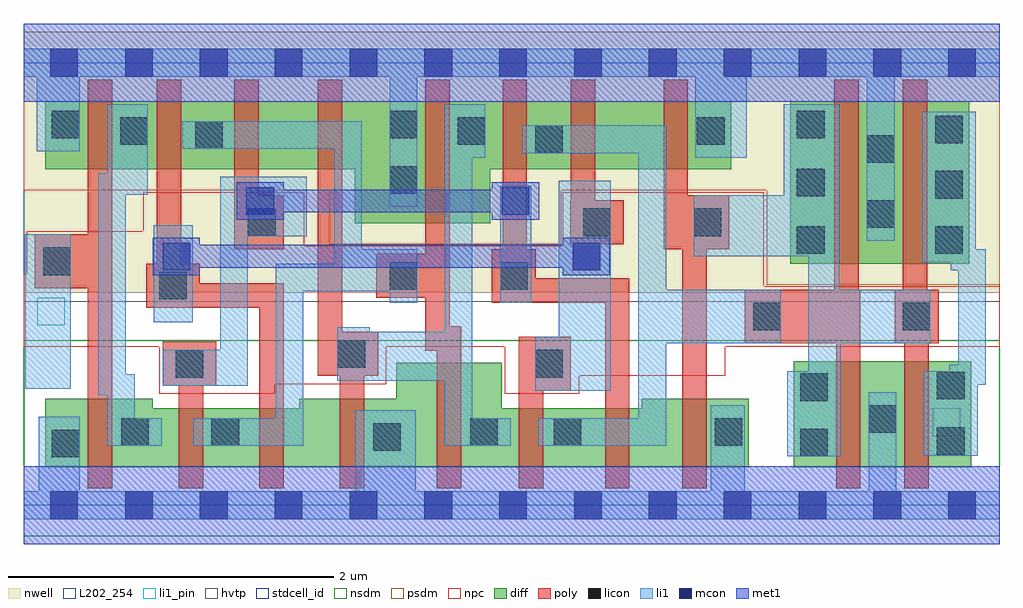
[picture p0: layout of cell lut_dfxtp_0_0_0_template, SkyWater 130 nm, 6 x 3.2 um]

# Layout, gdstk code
import gdstk
lib = gdstk.Library(unit=1e-6, precision=1e-09)
def R(c, l, rs):  # rectangles x0, y0, x1, y1
    for r in rs: c.add(gdstk.rectangle(r[:2], r[2:], *l))
def A(c, l, x, y, w, h, nx, ny, dx, dy):  # array of equal rectangles
    R(c, l, [(x+i*dx, y+j*dy, x+i*dx+w, y+j*dy+h) for i in range(nx) for j in range(ny)])
def P(c, l, *ps):  # polygons
    for p in ps: c.add(gdstk.Polygon(p, *l))
nwell = (64, 20)
diff = (65, 20)
poly = (66, 20)
licon = (66, 44)
li1_pin = (67, 16)
li1 = (67, 20)
mcon = (67, 44)
met1 = (68, 20)
hvtp = (78, 44)
stdcell_id = (81, 4)
nsdm = (93, 44)
psdm = (94, 20)
npc = (95, 20)
L202_254 = (202, 254)

lut_dfxtp_0_0_0_template = lib.new_cell('lut_dfxtp_0_0_0_template')
R(lut_dfxtp_0_0_0_template, nwell, [(0,1.305,6,2.91)])
R(lut_dfxtp_0_0_0_template, diff, [(4.735,0.235,5.825,0.885), (4.715,1.485,5.815,2.485)])
P(lut_dfxtp_0_0_0_template, diff, [(0.135,2.065),(2.035,2.065),(2.035,1.735),(2.87,1.735),(2.87,2.065),(4.35,2.065),(4.35,2.485),(0.135,2.485)],
  [(0.135,0.235),(4.46,0.235),(4.46,0.655),(3.8,0.655),(3.8,0.595),(2.94,0.595),(2.94,0.875),(2.29,0.875),(2.29,0.655),(1.695,0.655),(1.695,0.595),(0.795,0.595),(0.795,0.655),(0.135,0.655)])
P(lut_dfxtp_0_0_0_template, poly, [(1.81,0.795),(1.945,0.795),(1.945,0.105),(2.095,0.105),(2.095,0.795),(2.18,0.795),(2.18,1.065),(1.96,1.065),(1.96,2.615),(1.81,2.615)],
  [(0.855,0.735),(0.955,0.735),(0.955,0.105),(1.105,0.105),(1.105,0.735),(1.185,0.735),(1.185,1.005),(0.855,1.005)],
  [(0.07,1.335),(0.395,1.335),(0.395,0.105),(0.545,0.105),(0.545,2.615),(0.395,2.615),(0.395,1.665),(0.07,1.665)],
  [(0.755,1.215),(1.45,1.215),(1.45,0.105),(1.6,0.105),(1.6,1.365),(1.085,1.365),(1.085,1.485),(0.97,1.485),(0.97,2.615),(0.82,2.615),(0.82,1.485),(0.755,1.485)],
  [(1.295,1.575),(1.6,1.575),(1.6,1.905),(1.445,1.905),(1.445,2.615),(1.295,2.615)],
  [(3.935,1.575),(4.05,1.575),(4.05,0.105),(4.2,0.105),(4.2,1.575),(4.34,1.575),(4.34,1.905),(4.085,1.905),(4.085,2.615),(3.935,2.615)],
  [(3.36,1.605),(3.69,1.605),(3.69,1.875),(3.515,1.875),(3.515,2.615),(3.365,2.615),(3.365,1.875),(3.36,1.875)],
  [(2.88,1.245),(3.575,1.245),(3.575,0.105),(3.725,0.105),(3.725,1.395),(3.15,1.395),(3.15,1.575),(3.095,1.575),(3.095,2.615),(2.945,2.615),(2.945,1.575),(2.88,1.575)],
  [(5.355,0.995),(5.415,0.995),(5.415,0.105),(5.565,0.105),(5.565,0.995),(5.625,0.995),(5.625,1.325),(5.555,1.325),(5.555,2.615),(5.405,2.615),(5.405,1.325),(5.355,1.325)],
  [(4.435,0.995),(4.995,0.995),(4.995,0.105),(5.145,0.105),(5.145,1.325),(5.135,1.325),(5.135,2.615),(4.985,2.615),(4.985,1.325),(4.435,1.325)],
  [(3.045,0.105),(3.195,0.105),(3.195,0.705),(3.365,0.705),(3.365,1.035),(3.045,1.035)],
  [(2.47,0.95),(2.54,0.95),(2.54,0.105),(2.69,0.105),(2.69,1.1),(2.62,1.1),(2.62,2.615),(2.47,2.615),(2.47,1.545),(2.17,1.545),(2.17,1.275),(2.47,1.275)])
A(lut_dfxtp_0_0_0_template, licon, 4.755, 1.545, 0.17, 0.17, 1, 3, 0, 0.355)
A(lut_dfxtp_0_0_0_template, licon, 5.605, 1.545, 0.17, 0.17, 1, 3, 0, 0.34)
R(lut_dfxtp_0_0_0_template, licon, [(0.175,0.295,0.345,0.465), (4.775,0.3,4.945,0.47), (5.615,0.31,5.785,0.48), (2.15,0.335,2.32,0.505), (0.6,0.365,0.77,0.535), (1.155,0.365,1.325,0.535), (2.745,0.365,2.915,0.535), (3.26,0.365,3.43,0.535), (4.25,0.365,4.42,0.535), (5.195,0.445,5.365,0.615), (4.775,0.64,4.945,0.81), (5.615,0.65,5.785,0.82), (0.935,0.785,1.105,0.955), (3.145,0.785,3.315,0.955), (1.93,0.845,2.1,1.015), (4.485,1.075,4.655,1.245), (5.405,1.075,5.575,1.245), (0.835,1.265,1.005,1.435), (2.25,1.325,2.42,1.495), (2.93,1.325,3.1,1.495), (0.12,1.415,0.29,1.585), (1.38,1.655,1.55,1.825), (3.44,1.655,3.61,1.825), (4.12,1.655,4.29,1.825), (5.185,1.705,5.355,1.875), (2.25,1.915,2.42,2.085), (5.185,2.105,5.355,2.275), (3.145,2.165,3.315,2.335), (1.055,2.19,1.225,2.36), (0.595,2.215,0.765,2.385), (2.67,2.215,2.84,2.385), (4.14,2.215,4.31,2.385), (0.175,2.255,0.345,2.425), (2.25,2.255,2.42,2.425)])
R(lut_dfxtp_0_0_0_template, li1_pin, [(5.59,0.425,5.76,0.595), (0.085,1.105,0.255,1.275)])
R(lut_dfxtp_0_0_0_template, li1, [(0.01,0.715,0.29,1.665), (0.8,1.125,1.04,1.72), (2.93,1.245,3.12,1.965)])
P(lut_dfxtp_0_0_0_template, li1, [(3.165,0.365),(3.95,0.365),(3.95,0.995),(4.655,0.995),(4.655,1.325),(3.95,1.325),(3.95,2.335),(3.065,2.335),(3.065,2.165),(3.78,2.165),(3.78,0.535),(3.165,0.535)],
  [(4.695,0.3),(5.025,0.3),(5.025,0.995),(5.575,0.995),(5.575,1.325),(5.015,1.325),(5.015,2.465),(4.675,2.465),(4.675,1.905),(4.12,1.905),(4.12,1.53),(4.825,1.53),(4.825,0.825),(4.695,0.825)],
  [(5.525,1.495),(5.7,1.495),(5.7,1.445),(5.745,1.445),(5.745,0.865),(5.69,0.865),(5.69,0.825),(5.535,0.825),(5.535,0.305),(5.865,0.305),(5.865,0.74),(5.915,0.74),(5.915,1.575),(5.855,1.575),(5.855,2.42),(5.525,2.42)],
  [(3.145,0.705),(3.61,0.705),(3.61,1.995),(3.29,1.995),(3.29,1.035),(3.145,1.035)],
  [(0,2.635),(0.08,2.635),(0.08,2.175),(0.345,2.175),(0.345,2.635),(2.25,2.635),(2.25,1.835),(2.42,1.835),(2.42,2.635),(4.13,2.635),(4.13,2.135),(4.445,2.135),(4.445,2.635),(5.185,2.635),(5.185,1.625),(5.355,1.625),(5.355,2.635),(6,2.635),(6,2.805),(0,2.805)],
  [(0,-0.085),(6,-0.085),(6,0.085),(5.365,0.085),(5.365,0.695),(5.195,0.695),(5.195,0.085),(4.435,0.085),(4.435,0.615),(4.225,0.615),(4.225,0.085),(2.41,0.085),(2.41,0.585),(2.04,0.585),(2.04,0.085),(0.345,0.085),(0.345,0.545),(0.095,0.545),(0.095,0.085),(0,0.085)],
  [(0.515,0.365),(0.85,0.365),(0.85,0.535),(0.685,0.535),(0.685,0.805),(0.63,0.805),(0.63,1.91),(0.765,1.91),(0.765,2.465),(0.515,2.465),(0.515,2.04),(0.46,2.04),(0.46,0.675),(0.515,0.675)],
  [(0.855,0.735),(1.38,0.735),(1.38,1.655),(1.74,1.655),(1.74,2.02),(1.21,2.02),(1.21,0.955),(0.855,0.955)],
  [(1.045,0.365),(1.72,0.365),(1.72,1.315),(2.25,1.315),(2.25,1.245),(2.42,1.245),(2.42,1.575),(2.08,1.575),(2.08,2.36),(0.975,2.36),(0.975,2.19),(1.91,2.19),(1.91,1.485),(1.55,1.485),(1.55,0.535),(1.045,0.535)],
  [(2.59,0.365),(2.995,0.365),(2.995,0.535),(2.76,0.535),(2.76,2.135),(2.84,2.135),(2.84,2.465),(2.59,2.465),(2.59,1.065),(2.13,1.065),(2.13,1.095),(1.93,1.095),(1.93,0.765),(2.59,0.765)])
A(lut_dfxtp_0_0_0_template, mcon, 0.165, -0.085, 0.17, 0.17, 13, 2, 0.46, 2.72)
R(lut_dfxtp_0_0_0_template, mcon, [(0.855,1.445,1.025,1.615), (3.375,1.445,3.545,1.615), (1.37,1.785,1.54,1.955), (2.94,1.785,3.11,1.955)])
R(lut_dfxtp_0_0_0_template, met1, [(0,-0.24,6,0.24), (0,2.48,6,2.96)])
P(lut_dfxtp_0_0_0_template, met1, [(1.31,1.755),(1.6,1.755),(1.6,1.8),(2.88,1.8),(2.88,1.755),(3.17,1.755),(3.17,1.985),(2.88,1.985),(2.88,1.94),(1.6,1.94),(1.6,1.985),(1.31,1.985)],
  [(0.795,1.415),(1.085,1.415),(1.085,1.46),(3.315,1.46),(3.315,1.415),(3.605,1.415),(3.605,1.645),(3.315,1.645),(3.315,1.6),(1.085,1.6),(1.085,1.645),(0.795,1.645)])
R(lut_dfxtp_0_0_0_template, hvtp, [(0,1.25,6,2.72)])
R(lut_dfxtp_0_0_0_template, stdcell_id, [(0,0,6,2.72)])
R(lut_dfxtp_0_0_0_template, nsdm, [(0,-0.19,6,1.015)])
P(lut_dfxtp_0_0_0_template, psdm, [(0,1.935),(1.88,1.935),(1.88,1.605),(3.305,1.605),(3.305,1.935),(4.57,1.935),(4.57,1.355),(6,1.355),(6,2.91),(0,2.91)])
P(lut_dfxtp_0_0_0_template, npc, [(0,0.975),(0.835,0.975),(0.835,0.685),(1.545,0.685),(1.545,0.745),(2.23,0.745),(2.23,0.975),(2.96,0.975),(2.96,0.685),(3.415,0.685),(3.415,0.795),(4.315,0.795),(4.315,0.975),(6,0.975),(6,1.345),(4.55,1.345),(4.55,1.925),(3.315,1.925),(3.315,1.595),(1.725,1.595),(1.725,1.925),(0.735,1.925),(0.735,1.685),(0.02,1.685),(0.02,1.42),(0,1.42)])
R(lut_dfxtp_0_0_0_template, L202_254, [(0,0,6,2.72)])

lib.write_gds('lut_dfxtp_0_0_0_template.gds')
